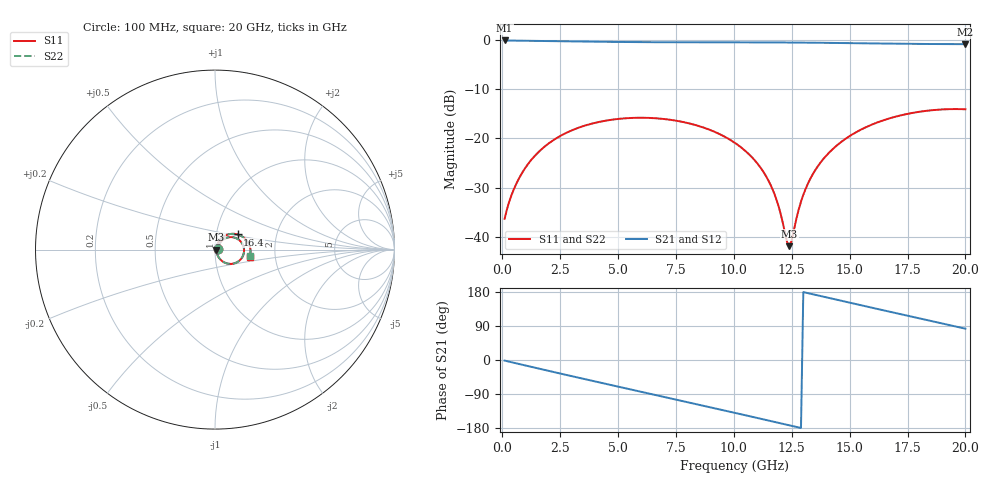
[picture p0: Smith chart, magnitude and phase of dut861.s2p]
! Touchstone file exported from HFSS 2026.1.0
!  File:  C:/ffzhzh/LocalFiles/Ansys_Project_Files/temp_train_TSV_RDL_861_1783270957_39728.aedt
!  Generated:  01:11:39 AM Jul  6, 2026
!  Design:  TSV_RDL
!  Project:  temp_train_TSV_RDL_861_1783270957_39728
! Variables:
!  h_bsmrdl = 5.43um
!  h_ox = 20um
!  h_rdl = 5um
!  h_sub = 99.7um
!  h_tmrdl = 4.54um
!  h_tsv = 99.7um
!  h_via = 3um
!  l_bsmrdl = 945.86um
!  l_sub = 4265.36um
!  l_tmrdl = 225.34um
!  m_sub = 200um
!  pitch = 32.88um
!  r_tsv = 12.63um
!  s_tmrdl = 10um
!  w_bsmrdl = 20.33um
!  w_sub = 500um
!  w_tmrdl = 21.81um
!  x_tsv_center1 = 236.245um
!  x_tsv_center2 = 1202.435um
!  x_tsv_center3 = 1449.585um
!  x_tsv_center4 = 2415.775um
!  x_tsv_center5 = 2662.925um
!  x_tsv_center6 = 3629.115um
# GHz S MA R 50.000000
! Terminal data exported
! Port[1] = TM_RDL1_1_T1
! Port[2] = TM_RDL5_1_T1
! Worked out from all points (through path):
!   200 points, 100 MHz to 20 GHz, reference 50 ohm
!   highest |S21| = -0.12 dB at 100 MHz (marker M1); lowest = -0.9 dB at 20 GHz (marker M2)
!   group delay of S21, straight-line fit = 38.5 ps
!   lowest |S11| = -41.8 dB at 12.4 GHz (marker M3), VSWR 1.02, Z = 50.8 + j0.0482 ohm
!   |S11| at or under -10 dB: start of sweep to end of sweep
!   |S22| runs from -41.6 to -14.0 dB; largest |S21 - S12| = 4.2e-14
!   S11 on the Smith chart (normalised r, x): 100 MHz: 1.03, +0.01; 16.4 GHz: 1.27, +0.22; 20 GHz: 1.48, -0.12
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0.1  0.01531 23.1  0.9861 -1.5  0.9861 -1.5  0.01531 23.1
! Gamma 0 0 0 0
! Port Impedance 50 0 50 0
0.3  0.02293 40.8  0.9838 -4.5  0.9838 -4.5  0.02293 40.8
0.6  0.03449 50.1  0.9817 -8.8  0.9817 -8.8  0.03449 50.1
1.3  0.06255 52.1  0.9775 -18.8  0.9775 -18.8  0.06255 52.1
2.3  0.09934 43.1  0.9703 -32.9  0.9703 -32.9  0.09933 43.1
3.5  0.1335 28.6  0.9611 -49.6  0.9611 -49.6  0.1335 28.6
5.2  0.1594 7.0  0.951 -72.9  0.951 -72.9  0.1594 7.0
6.8  0.1591 -13.4  0.9461 -94.8  0.9461 -94.8  0.1591 -13.3
8.4  0.1356 -33.6  0.9447 -116.7  0.9447 -116.7  0.1356 -33.5
10.1  0.08846 -54.1  0.9443 -140.2  0.9443 -140.2  0.08847 -53.9
10.9  0.06013 -62.2  0.9436 -151.4  0.9436 -151.4  0.06015 -62.0
11.5  0.03722 -65.4  0.9425 -159.8  0.9425 -159.8  0.03727 -65.1
11.9  0.02174 -61.5  0.9416 -165.4  0.9416 -165.4  0.02183 -60.9
12.3  0.008877 -23.2  0.9404 -171.0  0.9404 -171.0  0.009093 -22.6
12.4  0.008088 3.4  0.94 -172.4  0.94 -172.4  0.00832 3.2
12.9  0.02285 62.7  0.9381 -179.4  0.9381 -179.4  0.02293 62.1
13.4  0.04302 65.8  0.9359 173.6  0.9359 173.6  0.04304 65.6
14.6  0.09079 55.6  0.9292 156.9  0.9292 156.9  0.09078 55.5
16.4  0.1512 34.0  0.9179 132.0  0.9179 132.0  0.1512 33.9
16.7  0.1593 30.2  0.9161 127.8  0.9161 127.8  0.1593 30.2
18.4  0.1917 8.8  0.9077 104.6  0.9077 104.6  0.1916 8.8
20  0.1978 -11.2  0.9041 82.7  0.9041 82.7  0.1977 -11.2
